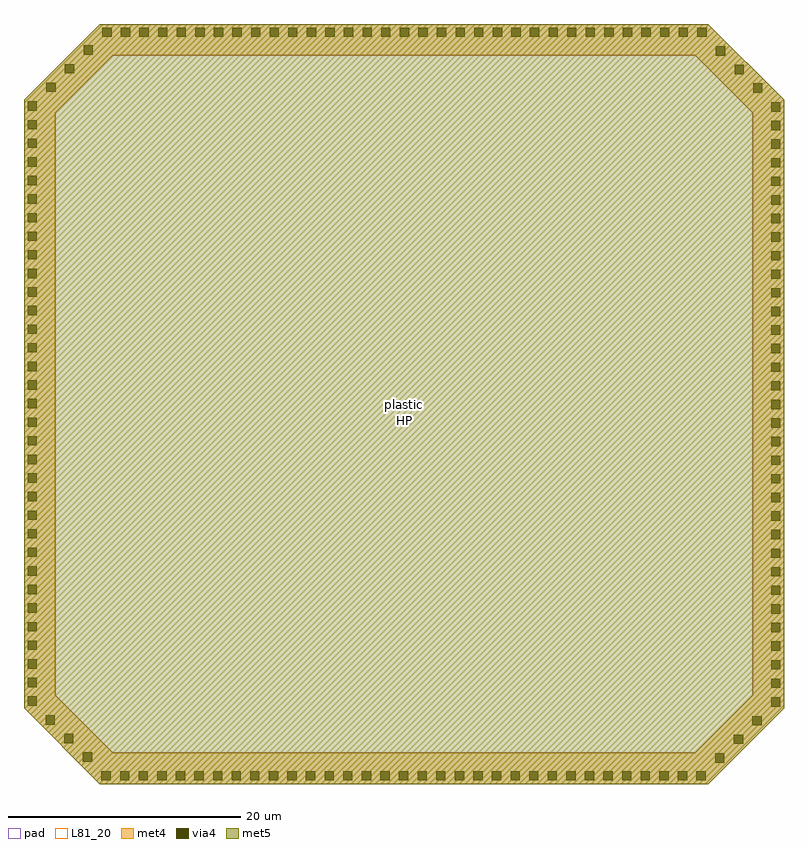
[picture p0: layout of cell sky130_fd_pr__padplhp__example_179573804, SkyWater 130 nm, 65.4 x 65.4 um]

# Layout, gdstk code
import gdstk
lib = gdstk.Library(unit=1e-6, precision=1e-09)
def R(c, l, rs):  # rectangles x0, y0, x1, y1
    for r in rs: c.add(gdstk.rectangle(r[:2], r[2:], *l))
def A(c, l, x, y, w, h, nx, ny, dx, dy):  # array of equal rectangles
    R(c, l, [(x+i*dx, y+j*dy, x+i*dx+w, y+j*dy+h) for i in range(nx) for j in range(ny)])
def P(c, l, *ps):  # polygons
    for p in ps: c.add(gdstk.Polygon(p, *l))
met4 = (71, 20)
via4 = (71, 44)
met5 = (72, 20)
pad = (76, 20)
L81_20 = (81, 20)

sky130_fd_pr__genrivetdl = lib.new_cell('sky130_fd_pr__genrivetdlring__example_179576876')
A(sky130_fd_pr__genrivetdl, via4, 6.355, 0, 0.8, 0.8, 33, 1, 1.6, 0)
A(sky130_fd_pr__genrivetdl, via4, 63.98, 6.355, 0.8, 0.8, 1, 33, 0, 1.6)
A(sky130_fd_pr__genrivetdl, via4, 0, 6.425, 0.8, 0.8, 1, 33, 0, 1.6)
A(sky130_fd_pr__genrivetdl, via4, 6.425, 63.98, 0.8, 0.8, 33, 1, 1.6, 0)
R(sky130_fd_pr__genrivetdl, via4, [(59.165,1.54,59.965,2.34), (4.745,1.61,5.545,2.41), (60.765,3.14,61.565,3.94), (3.145,3.21,3.945,4.01), (62.365,4.74,63.165,5.54), (1.545,4.81,2.345,5.61), (62.435,59.17,63.235,59.97), (1.615,59.24,2.415,60.04), (60.835,60.77,61.635,61.57), (3.215,60.84,4.015,61.64), (59.235,62.37,60.035,63.17), (4.815,62.44,5.615,63.24)])

sky130_fd_pr__gendlring_ = lib.new_cell('sky130_fd_pr__gendlring__example_179574828')

sky130_fd_pr__padplhp__e = lib.new_cell('sky130_fd_pr__padplhp__example_179573804')
P(sky130_fd_pr__padplhp__e, met4, [(4.95,60),(0,55.05),(0,4.95),(-2.7,3.83),(-2.7,56.17),(3.83,62.7)],
  [(60,55.05),(55.05,60),(4.95,60),(3.83,62.7),(56.17,62.7),(62.7,56.17)],
  [(55.05,0),(60,4.95),(60,55.05),(62.7,56.17),(62.7,3.83),(56.17,-2.7)],
  [(0,4.95),(4.95,0),(55.05,0),(56.17,-2.7),(3.83,-2.7),(-2.7,3.83)])
P(sky130_fd_pr__padplhp__e, met5, [(3.83,-2.7),(56.17,-2.7),(62.7,3.83),(62.7,56.17),(56.17,62.7),(3.83,62.7),(-2.7,56.17),(-2.7,3.83)])
P(sky130_fd_pr__padplhp__e, pad, [(4.95,0),(55.05,0),(60,4.95),(60,55.05),(55.05,60),(4.95,60),(0,55.05),(0,4.95)])
R(sky130_fd_pr__padplhp__e, L81_20, [(29.9,29.9,30.1,30.1)])
sky130_fd_pr__padplhp__e.add(gdstk.Reference(sky130_fd_pr__genrivetdl, (-2.39,-2.39)))
sky130_fd_pr__padplhp__e.add(gdstk.Reference(sky130_fd_pr__gendlring_, (0,0)))
sky130_fd_pr__padplhp__e.add(gdstk.Label('HP', (30,28.571), layer=83, texttype=44))
sky130_fd_pr__padplhp__e.add(gdstk.Label('plastic', (30,30), layer=83, texttype=44))
sky130_fd_pr__padplhp__e.add(gdstk.Label('plastic', (30,30), layer=83, texttype=44))

lib.write_gds('sky130_fd_pr__padplhp__example_179573804.gds')
